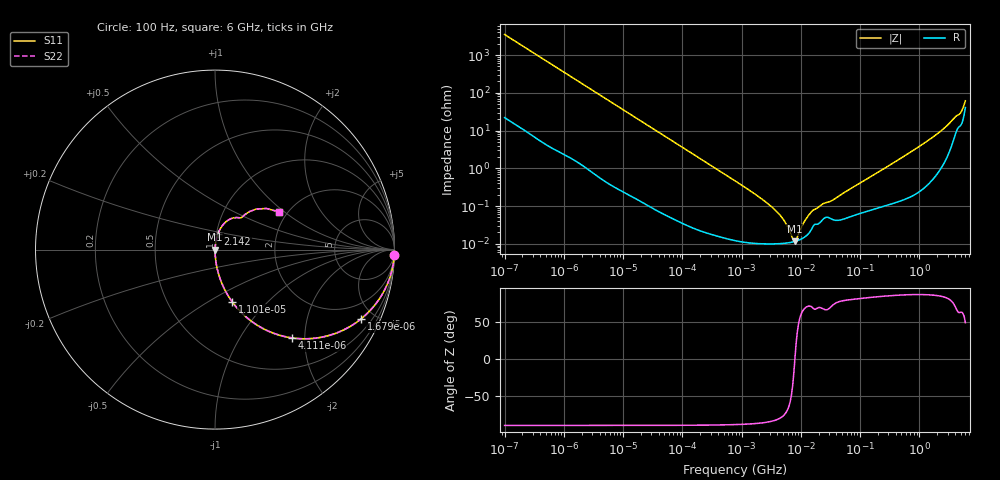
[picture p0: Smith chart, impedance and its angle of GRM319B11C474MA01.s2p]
!Murata Part Number: GRM319B11C474MA01
!These Parameters are Measured in Series Mode Connection
!Data Generated on Mar 30, 2021
!  o--ll--o
!Port1  Port2
!  o------o
!Operation Temp=25[degC], DC Bias Voltage=0[V]
!Freq. Start=100[Hz] Stop=6[GHz] 401[Steps]
# Hz S RI R 50
!Freq.(Hz) S11(Real) S11(Imag) S21(Real) S21(Imag) S12(Real) S12(Imag) S22(Real) S22(Imag)
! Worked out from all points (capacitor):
!   401 points, 100 Hz to 6 GHz, reference 50 ohm
!   read as one part in series: C = 454 nF near 109 Hz
!   lowest |Z| = 11.5 mohm at 7.948 MHz (marker M1)
!   series resonance near 7.945 MHz, so ESL is about 880 pH
!   S11 on the Smith chart (normalised r, x): 100 Hz: 1, -70; 1.679 kHz: 1.03, -4.21; 4.111 kHz: 1.01, -1.73; 11.01 kHz: 1.00, -0.65; 2.142 GHz: 1.02, +0.18; 6 GHz: 1.81, +0.92
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100  0.999 -0.0286  0.000996 0.0286  0.000996 0.0286  0.999 -0.0286
479  0.981 -0.1335  0.019 0.1335  0.019 0.1335  0.981 -0.1335
981  0.9267 -0.2573  0.0733 0.2573  0.0733 0.2573  0.9267 -0.2573
1679  0.8144 -0.3853  0.1856 0.3853  0.1856 0.3853  0.8144 -0.3853
2008  0.755 -0.4266  0.245 0.4266  0.245 0.4266  0.755 -0.4266
4111  0.4277 -0.4916  0.5723 0.4916  0.5723 0.4916  0.4277 -0.4916
6728  0.2199 -0.411  0.7801 0.411  0.7801 0.411  0.2199 -0.411
11009  0.0964 -0.2918  0.9036 0.2918  0.9036 0.2918  0.0964 -0.2918
40335  0.00852 -0.088  0.9915 0.088  0.9915 0.088  0.00852 -0.088
774597  0.000143 -0.00465  0.9999 0.00465  0.9999 0.00465  0.000143 -0.00465
3712478  0.0001 -0.00077  0.9999 0.00077  0.9999 0.00077  0.0001 -0.00077
5311619  0.000103 -0.000382  0.9999 0.000382  0.9999 0.000382  0.000103 -0.000382
7266822  0.000111 -8.31e-05  0.9999 8.31e-05  0.9999 8.31e-05  0.000111 -8.31e-05
7947587  0.000115 3e-07  0.9999 -3e-07  0.9999 -3e-07  0.000115 3e-07
8692127  0.000121 8.41e-05  0.9999 -8.41e-05  0.9999 -8.41e-05  0.000121 8.41e-05
1.189169e7  0.000155 0.000394  0.9998 -0.000394  0.9998 -0.000394  0.000155 0.000394
1.555665e7  0.000262 0.000691  0.9997 -0.000691  0.9997 -0.000691  0.000262 0.000691
3.124326e8  0.00123 0.0119  0.9988 -0.0119  0.9988 -0.0119  0.00123 0.0119
2.142435e9  0.0156 0.0857  0.9844 -0.0857  0.9844 -0.0857  0.0156 0.0857
3.666503e9  0.0753 0.1656  0.9247 -0.1656  0.9247 -0.1656  0.0753 0.1656
5.016141e9  0.1662 0.1949  0.8338 -0.1949  0.8338 -0.1949  0.1662 0.1949
6e9  0.3567 0.21  0.6433 -0.21  0.6433 -0.21  0.3567 0.21
